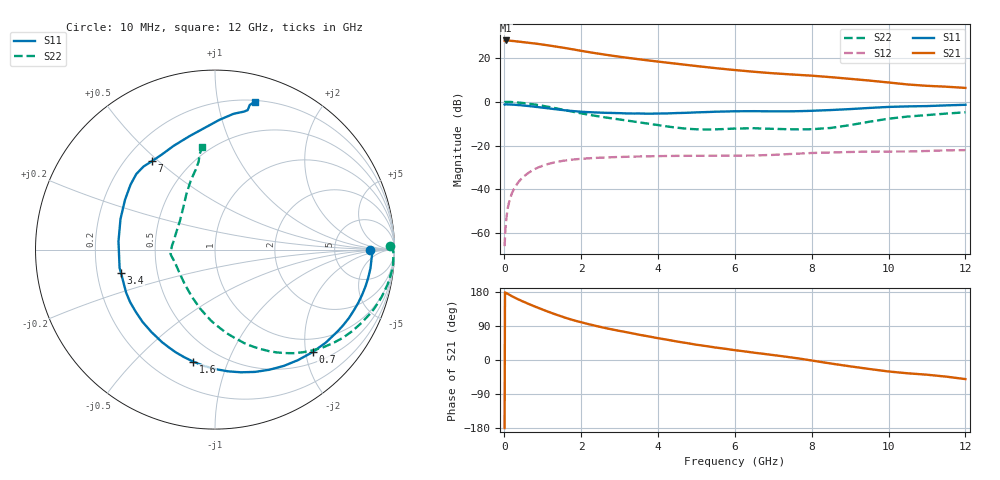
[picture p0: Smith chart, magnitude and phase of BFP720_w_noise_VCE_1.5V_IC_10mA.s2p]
! Infineon Technologies  Discrete & RF Semiconductors
! BFP720
! VCE =  1.5 V,  IC =  10 mA
! Common Emitter S-Parameters:  Aug 2012
# GHz  S  MA  R  50
!  f  S11  S21  S12  S22
! GHz  MAG  ANG  MAG  ANG  MAG  ANG  MAG  ANG
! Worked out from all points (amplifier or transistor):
!   105 points, 10 MHz to 12 GHz, reference 50 ohm
!   highest |S21| = 28.0 dB at 50 MHz (marker M1)
!   |S21| within 3 dB of that: start of sweep to 1.417 GHz
!   unconditionally stable (mu >= 1): 5.581 GHz to 11.46 GHz
!   at 300 MHz: K = 0.08, MSG = 33.1 dB, |S12| = -38.5 dB
!   at 3.6 GHz: K = 0.69, MSG = 22.1 dB, |S12| = -25.0 dB
!   at 12 GHz: K = 0.87, MSG = 14.2 dB, |S12| = -22.1 dB
!   lowest NFmin = 0.53 dB at 450 MHz
!   S11 on the Smith chart (normalised r, x): 10 MHz: 14, -1; 700 MHz: 0.71, -2.14; 1.6 GHz: 0.36, -0.76; 3.4 GHz: 0.30, -0.11; 7 GHz: 0.31, +0.48; 12 GHz: 0.21, +1.28
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0.01  0.8661 -0.3  24.87 -179.6  0.0005 -94.2  0.9733 1.3
0.02  0.876 -1.3  24.96 178.5  0.0008 92.8  0.9939 -0.7
0.05  0.8737 -3.4  25.26 176.8  0.0019 85.1  0.9945 -2.1
0.15  0.8681 -10.3  24.97 171.2  0.006 84.6  0.9919 -6.9
0.35  0.8443 -23.7  23.88 160.8  0.0138 76.8  0.965 -15.9
0.5  0.8221 -33.4  23.05 153.9  0.0193 71.4  0.936 -22.3
0.7  0.7887 -46.4  21.98 145.2  0.026 64.6  0.8901 -30.6
0.9  0.7529 -59.4  20.94 137.0  0.0319 58.2  0.8382 -38.5
1.1  0.7169 -71.9  19.76 129.1  0.0369 52.1  0.7809 -46.0
1.3  0.6821 -83.9  18.59 121.6  0.041 46.7  0.7235 -52.9
1.6  0.6361 -100.9  16.88 111.2  0.0456 39.6  0.64 -62.1
1.8  0.6126 -110.9  15.73 105.1  0.0479 35.6  0.5893 -67.6
2.1  0.5856 -123.7  14.17 97.1  0.0503 30.6  0.5254 -74.8
2.6  0.5614 -141.8  12.05 85.0  0.0532 24.1  0.4437 -85.6
3.4  0.5398 -166.3  9.64 69.0  0.0559 16.8  0.3507 -101.4
4.1  0.5402 172.4  8.117 55.9  0.0574 12.0  0.2849 -118.5
5  0.5733 150.9  6.571 40.3  0.0583 7.1  0.2355 -148.6
6.1  0.608 135.1  5.223 24.7  0.0587 4.0  0.2452 -171.7
7  0.6051 125.5  4.488 13.0  0.0611 3.7  0.2411 175.3
8.5  0.6478 102.7  3.655 -9.3  0.0693 -2.7  0.2524 140.7
10.5  0.7851 78.2  2.488 -35.1  0.073 -12.3  0.4599 103.4
12  0.8544 74.9  2.078 -50.4  0.0785 -19.4  0.5758 97.2
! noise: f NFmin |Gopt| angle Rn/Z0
0.45  0.53  0.29  1  0.21
1.8  0.58  0.26  18  0.12
2.4  0.64  0.23  38  0.29
5.5  0.78  0.11  20  0.14
10  0.97  0.4  -78  0.22
